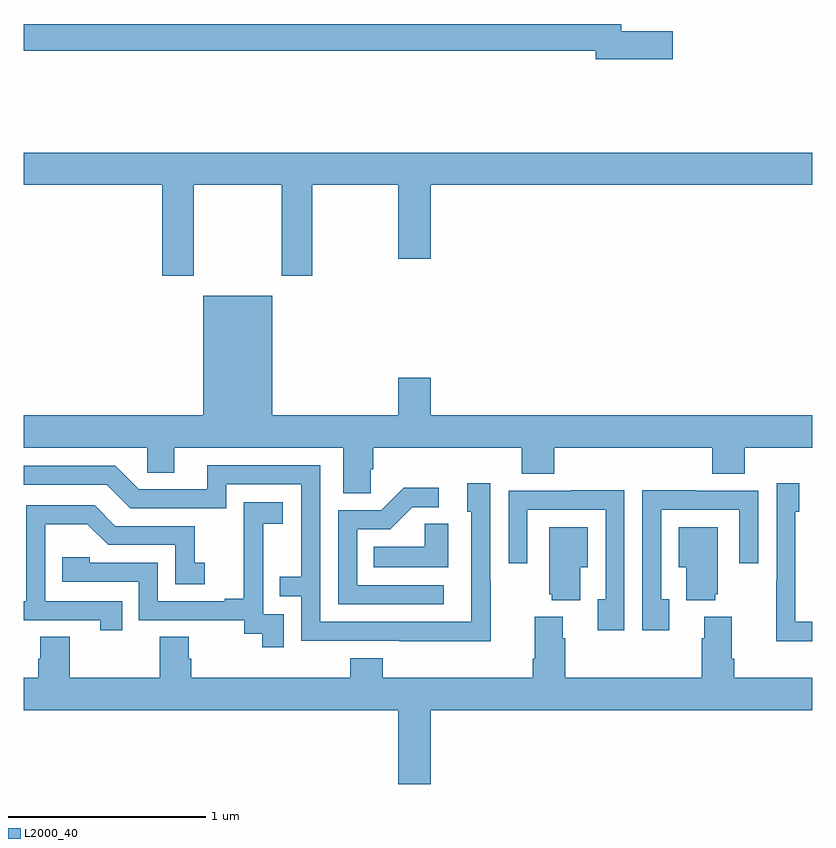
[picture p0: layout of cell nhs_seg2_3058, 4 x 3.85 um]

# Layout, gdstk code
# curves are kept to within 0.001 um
import gdstk
lib = gdstk.Library(unit=1e-6, precision=1e-09)
def P(c, l, *ps):  # polygons
    for p in ps: c.add(gdstk.Polygon(p, *l))
L2000_40 = (2000, 40)

nhs_seg2_3058 = lib.new_cell('nhs_seg2_3058')
P(nhs_seg2_3058, L2000_40, [(274.291,661.736),(274.03,661.736),(274.03,661.772),(271,661.772),(271,661.636),(273.902,661.636),(273.902,661.594),(274.291,661.594)],
  [(271.863,660.956),(272.308,660.956),(272.308,660.495),(272.463,660.495),(272.463,660.956),(272.9,660.956),(272.9,660.582),(273.064,660.582),(273.064,660.956),(275,660.956),(275,661.12),(271,661.12),(271,660.956),(271.703,660.956),(271.703,660.495),(271.863,660.495)],
  [(272.76,659.515),(272.774,659.515),(272.774,659.624),(273.527,659.624),(273.527,659.491),(273.692,659.491),(273.692,659.624),(274.493,659.624),(274.493,659.491),(274.658,659.491),(274.658,659.624),(275,659.624),(275,659.788),(273.064,659.788),(273.064,659.977),(272.9,659.977),(272.9,659.788),(272.26,659.788),(272.26,660.394),(271.91,660.394),(271.91,659.788),(271,659.788),(271,659.624),(271.626,659.624),(271.626,659.497),(271.765,659.497),(271.765,659.624),(272.621,659.624),(272.621,659.392),(272.76,659.392)],
  [(273.369,658.949),(273.366,658.949),(273.366,659.443),(273.251,659.443),(273.251,659.298),(273.27,659.298),(273.27,658.74),(272.505,658.74),(272.505,659.535),(271.931,659.535),(271.931,659.412),(271.584,659.412),(271.464,659.532),(271,659.532),(271,659.436),(271.422,659.436),(271.542,659.316),(272.028,659.316),(272.028,659.439),(272.409,659.439),(272.409,658.97),(272.299,658.97),(272.299,658.869),(272.409,658.869),(272.409,658.644),(273.369,658.643)],
  [(275,658.74),(274.914,658.74),(274.914,659.298),(274.933,659.298),(274.933,659.443),(274.818,659.443),(274.818,658.949),(274.816,658.949),(274.816,658.643),(275,658.643)],
  [(273.13,658.926),(272.691,658.926),(272.691,659.211),(272.86,659.211),(272.971,659.322),(273.106,659.322),(273.106,659.42),(272.927,659.42),(272.814,659.307),(272.595,659.307),(272.595,658.83),(273.13,658.83)],
  [(274.047,659.408),(273.775,659.408),(273.775,659.406),(273.459,659.406),(273.459,659.037),(273.555,659.037),(273.555,659.31),(273.951,659.31),(273.951,658.854),(273.911,658.854),(273.911,658.698),(274.047,658.698)],
  [(274.273,658.854),(274.233,658.854),(274.233,659.31),(274.629,659.31),(274.629,659.037),(274.725,659.037),(274.725,659.406),(274.409,659.406),(274.409,659.408),(274.137,659.408),(274.137,658.698),(274.273,658.698)],
  [(272.319,658.779),(272.214,658.779),(272.214,659.009),(272.216,659.009),(272.216,659.237),(272.314,659.237),(272.314,659.347),(272.116,659.347),(272.116,659.141),(272.117,659.141),(272.117,658.858),(272.021,658.858),(272.021,658.845),(271.68,658.845),(271.68,659.04),(271.335,659.04),(271.335,659.067),(271.195,659.067),(271.195,658.944),(271.584,658.944),(271.584,658.749),(272.118,658.749),(272.118,658.681),(272.211,658.681),(272.211,658.611),(272.319,658.611)],
  [(271.499,658.845),(271.11,658.845),(271.11,659.234),(271.324,659.234),(271.428,659.13),(271.77,659.13),(271.77,658.932),(271.918,658.932),(271.918,659.041),(271.869,659.041),(271.869,659.226),(271.465,659.226),(271.36,659.331),(271.014,659.331),(271.014,658.845),(271,658.845),(271,658.749),(271.388,658.749),(271.388,658.698),(271.499,658.698)],
  [(273.154,659.237),(273.033,659.237),(273.033,659.122),(272.776,659.122),(272.776,659.018),(273.154,659.018)],
  [(273.823,659.018),(273.862,659.018),(273.862,659.221),(273.665,659.221),(273.665,658.881),(273.677,658.881),(273.677,658.85),(273.823,658.85)],
  [(274.508,658.881),(274.519,658.881),(274.519,659.221),(274.322,659.221),(274.322,659.018),(274.361,659.018),(274.361,658.85),(274.508,658.85)],
  [(273.064,658.292),(275,658.292),(275,658.456),(274.604,658.456),(274.604,658.552),(274.591,658.552),(274.591,658.765),(274.451,658.765),(274.451,658.658),(274.439,658.658),(274.439,658.456),(273.746,658.456),(273.746,658.658),(273.733,658.658),(273.733,658.765),(273.593,658.765),(273.593,658.552),(273.581,658.552),(273.581,658.456),(272.822,658.456),(272.822,658.555),(272.657,658.555),(272.657,658.456),(271.85,658.456),(271.85,658.554),(271.837,658.554),(271.837,658.664),(271.69,658.664),(271.69,658.456),(271.233,658.456),(271.233,658.664),(271.085,658.664),(271.085,658.554),(271.073,658.554),(271.073,658.456),(271,658.456),(271,658.292),(272.9,658.292),(272.9,657.918),(273.064,657.918)])

lib.write_gds('nhs_seg2_3058.gds')
